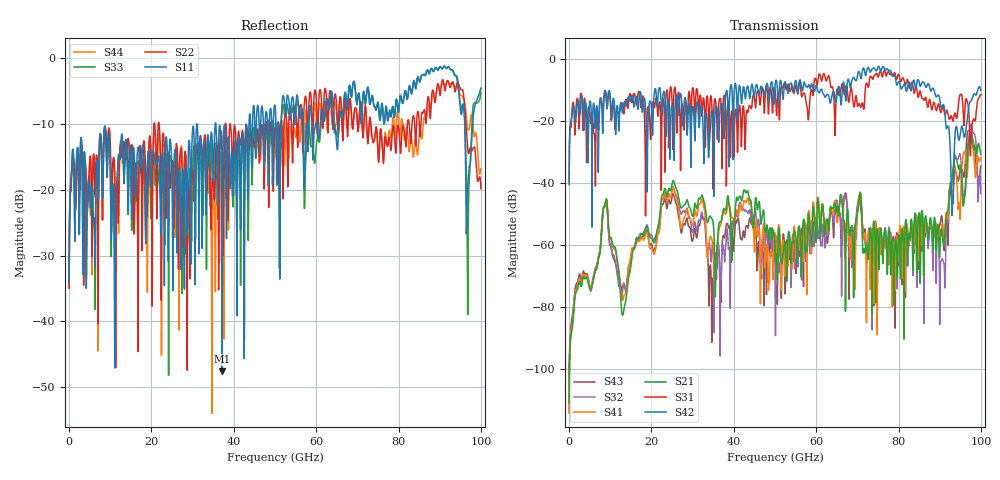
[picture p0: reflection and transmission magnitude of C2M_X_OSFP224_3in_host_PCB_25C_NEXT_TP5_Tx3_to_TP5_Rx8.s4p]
# GHz S RI R 45
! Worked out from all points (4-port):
!   4000 points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, 25 MHz to 100 GHz, reference 45 ohm
!   strongest paths, dB at 25 MHz, 25.02 GHz, 50.02 GHz, 75.03 GHz, 100 GHz:
!     S42: -40.6, -15.1, -8.7, -2.7, -10.3
!     S31: -39.7, -14.6, -10.1, -5.9, -11.6
!     S21: -111.1, -40.4, -62.1, -57.9, -30.9
!     S41: -114.4, -42.7, -56.7, -58.4, -31.9
!     S32: -113.5, -42.1, -66.4, -57.7, -43.6
!     S43: -105.6, -44.4, -56.9, -59.0, -34.6
!   lowest |S11| = -47.6 dB at 37.17 GHz (marker M1), VSWR 1.01, Z = 45.4 - j0.133 ohm
!   |S11| at or under -10 dB: start of sweep to 31.03 GHz; 31.1 GHz to 35.5 GHz (4.396 GHz wide, 13.2 % of centre); 35.65 GHz to 42.96 GHz (7.31 GHz wide, 18.6 % of centre) (the widest 3 of 19)
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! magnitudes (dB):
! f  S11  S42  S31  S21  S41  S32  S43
! 25 MHz  -34.1  -40.6  -39.7  -111.1  -114.4  -113.5  -105.6
! 8.775 GHz  -10.4  -10.3  -10.3  -46.9  -47.0  -47.3  -47.4
! 13.12 GHz  -14.2  -16.5  -16.2  -82.5  -77.5  -73.4  -73.1
! 37.17 GHz  -47.6  -14.6  -35.5  -50.8  -51.2  -61.7  -60.1
! 76.6 GHz  -9.6  -3.6  -3.9  -55.8  -58.5  -55.3  -57.8
! 93.05 GHz  -1.8  -45.8  -19.7  -38.0  -40.5  -40.2  -47.5
! 100 GHz  -4.5  -10.3  -11.6  -30.9  -31.9  -43.6  -34.6
